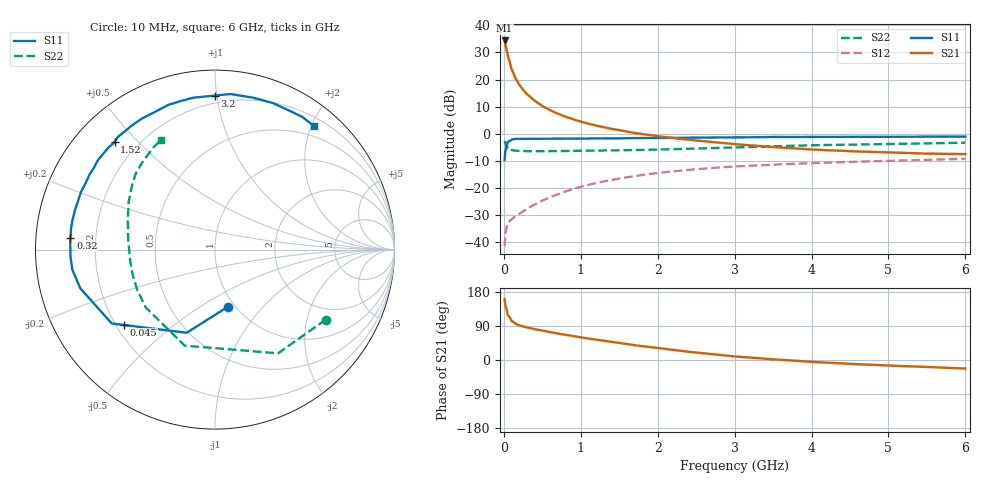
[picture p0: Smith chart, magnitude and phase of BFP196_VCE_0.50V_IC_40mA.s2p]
! Infineon Technologies  Discrete & RF Semiconductors
! BFP196
! VCE = 0.50V,  IC =  40mA
! Common Emitter S-Parameters:  Jan 2016
# GHz  S  MA  R  50
!  f  S11  S21  S12  S22
! GHz  MAG  ANG  MAG  ANG  MAG  ANG  MAG  ANG
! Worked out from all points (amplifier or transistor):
!   210 points, 10 MHz to 6 GHz, reference 50 ohm
!   highest |S21| = 34.4 dB at 10 MHz (marker M1)
!   |S21| within 3 dB of that: start of sweep to 32.16 MHz
!   unconditionally stable (mu >= 1): 353.1 MHz to end of sweep
!   at 185 MHz: K = 0.75, MSG = 24.4 dB, |S12| = -29.9 dB
!   at 1.52 GHz: K = 1.16, MAG = 6.4 dB, |S12| = -16.5 dB
!   at 6 GHz: K = 1.05, MAG = -0.5 dB, |S12| = -9.3 dB
!   S11 on the Smith chart (normalised r, x): 10 MHz: 0.93, -0.66; 45 MHz: 0.23, -0.34; 320 MHz: 0.11, +0.04; 1.52 GHz: 0.12, +0.43; 3.2 GHz: 0.15, +0.99; 6 GHz: 0.33, +2.05
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0.01  0.3266 -77.3  52.66 160.4  0.0084 69.6  0.7301 -32.3
0.02  0.4894 -108.8  45.03 144.2  0.0146 58.0  0.6763 -58.7
0.045  0.6575 -140.3  30.15 124.9  0.0213 41.8  0.5483 -98.6
0.05  0.7073 -144.4  27.84 118.8  0.0228 39.8  0.5609 -107.5
0.1  0.781 -164.0  15.54 103.1  0.0263 37.3  0.5031 -140.2
0.15  0.8025 -171.9  10.63 96.1  0.0298 39.6  0.4874 -153.2
0.2  0.8061 -177.0  8.044 91.3  0.0331 43.4  0.4807 -160.4
0.26  0.8067 178.7  6.213 87.8  0.0377 47.7  0.4783 -165.9
0.3  0.808 176.5  5.37 85.7  0.0409 50.0  0.4764 -168.2
0.32  0.808 175.4  5.104 85.0  0.0426 50.9  0.4762 -169.1
0.4  0.811 171.1  4.052 81.3  0.0493 53.7  0.4766 -172.7
0.5  0.811 168.1  3.253 77.6  0.0581 56.1  0.4775 -175.9
0.6  0.8106 163.5  2.722 73.5  0.067 57.4  0.4771 -178.1
0.8  0.8131 156.6  2.062 66.5  0.0859 57.5  0.4803 178.3
1.02  0.8142 148.6  1.642 59.3  0.1066 56.2  0.4843 174.8
1.52  0.8212 132.9  1.152 44.4  0.1503 50.0  0.4947 168.4
2.02  0.8355 118.7  0.893 31.1  0.1895 42.4  0.5121 161.7
3.1  0.8556 92.0  0.626 8.0  0.2527 25.4  0.563 147.1
3.2  0.858 90.0  0.611 6.5  0.2567 24.0  0.5682 145.8
4.1  0.8727 74.3  0.503 -5.9  0.2895 12.4  0.6155 134.9
5.1  0.8787 61.1  0.448 -15.4  0.3189 1.4  0.6491 124.8
6  0.8819 51.1  0.421 -22.5  0.3435 -8.6  0.6817 116.0
